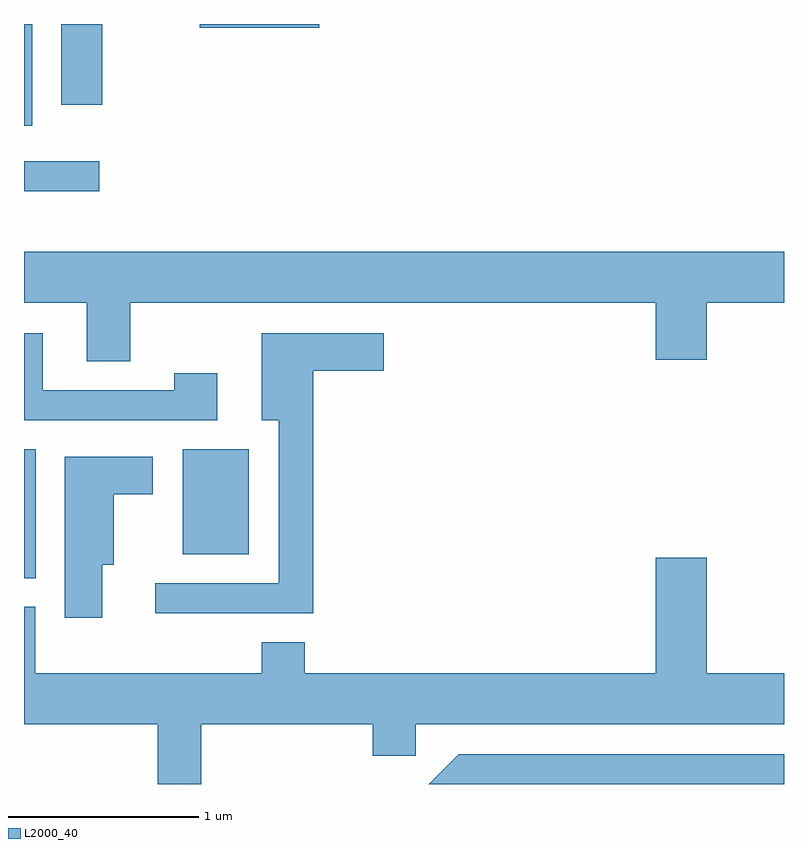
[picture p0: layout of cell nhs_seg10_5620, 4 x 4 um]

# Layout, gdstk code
import gdstk
lib = gdstk.Library(unit=1e-6, precision=1e-09)
def R(c, l, rs):  # rectangles x0, y0, x1, y1
    for r in rs: c.add(gdstk.rectangle(r[:2], r[2:], *l))
def P(c, l, *ps):  # polygons
    for p in ps: c.add(gdstk.Polygon(p, *l))
L2000_40 = (2000, 40)

nhs_seg10_5620 = lib.new_cell('nhs_seg10_5620')
R(nhs_seg10_5620, L2000_40, [(351.611,2083.606,351.674,2084.284), (352.446,2083.731,352.794,2084.284), (351.611,2085.641,352.008,2085.799), (351.611,2085.986,351.654,2086.522), (351.806,2086.096,352.024,2086.522), (352.536,2086.501,353.164,2086.522)])
P(nhs_seg10_5620, L2000_40, [(352.169,2085.056),(354.936,2085.056),(354.936,2084.756),(355.204,2084.756),(355.204,2085.056),(355.611,2085.056),(355.611,2085.324),(351.611,2085.324),(351.611,2085.056),(351.941,2085.056),(351.941,2084.746),(352.169,2084.746)],
  [(353.134,2084.696),(353.504,2084.696),(353.504,2084.894),(352.861,2084.894),(352.861,2084.436),(352.951,2084.436),(352.951,2083.579),(352.303,2083.579),(352.303,2083.421),(353.134,2083.421)],
  [(352.629,2084.684),(352.401,2084.684),(352.401,2084.594),(351.709,2084.594),(351.709,2084.894),(351.611,2084.894),(351.611,2084.436),(352.629,2084.436)],
  [(352.024,2083.676),(352.084,2083.676),(352.084,2084.046),(352.289,2084.046),(352.289,2084.244),(351.826,2084.244),(351.826,2083.396),(352.024,2083.396)],
  [(352.544,2082.836),(353.446,2082.836),(353.446,2082.671),(353.674,2082.671),(353.674,2082.836),(355.611,2082.836),(355.611,2083.104),(355.204,2083.104),(355.204,2083.714),(354.936,2083.714),(354.936,2083.104),(353.089,2083.104),(353.089,2083.269),(352.861,2083.269),(352.861,2083.104),(351.669,2083.104),(351.669,2083.454),(351.611,2083.454),(351.611,2082.836),(352.316,2082.836),(352.316,2082.522),(352.544,2082.522)],
  [(355.611,2082.679),(353.899,2082.679),(353.742,2082.522),(355.611,2082.522)])

lib.write_gds('nhs_seg10_5620.gds')
